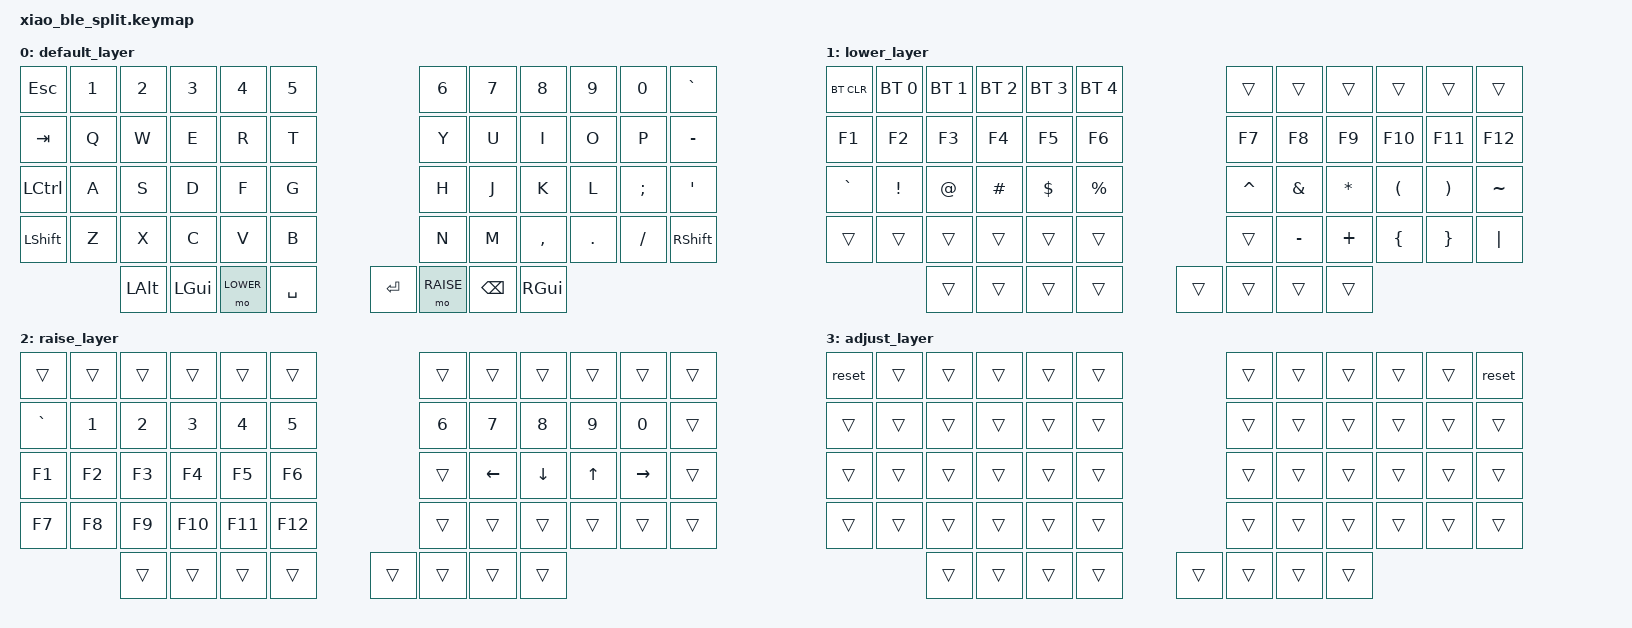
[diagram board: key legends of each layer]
/*
 * Copyright (c) 2022 The ZMK Contributors
 *
 * SPDX-License-Identifier: MIT
 */

#include <behaviors.dtsi>
#include <dt-bindings/zmk/keys.h>
#include <dt-bindings/zmk/bt.h>

// レイヤー定義
#define DEFAULT 0
#define LOWER   1
#define RAISE   2
#define ADJUST  3

/ {
    keymap {
        compatible = "zmk,keymap";

        default_layer {
            // ------------------------------------------------------------------------------------------------------------
            // |  ESC  |  1  |  2  |  3   |  4   |  5   |                   |  6   |  7    |  8    |  9   |   0   |   `   |
            // |  TAB  |  Q  |  W  |  E   |  R   |  T   |                   |  Y   |  U    |  I    |  O   |   P   |   -   |
            // |  CTRL |  A  |  S  |  D   |  F   |  G   |                   |  H   |  J    |  K    |  L   |   ;   |   '   |
            // | SHIFT |  Z  |  X  |  C   |  V   |  B   |                   |  N   |  M    |  ,    |  .   |   /   | SHIFT |
            //                     | ALT  | GUI  | LOWER|  SPACE |  | ENTER | RAISE| BSPC  | GUI   |

            bindings = <
                &kp ESC   &kp N1 &kp N2 &kp N3   &kp N4   &kp N5                     &kp N6 &kp N7   &kp N8    &kp N9  &kp N0   &kp GRAVE
                &kp TAB   &kp Q  &kp W  &kp E    &kp R    &kp T                      &kp Y  &kp U    &kp I     &kp O   &kp P    &kp MINUS
                &kp LCTRL &kp A  &kp S  &kp D    &kp F    &kp G                      &kp H  &kp J    &kp K     &kp L   &kp SEMI &kp SQT
                &kp LSHFT &kp Z  &kp X  &kp C    &kp V    &kp B                      &kp N  &kp M    &kp COMMA &kp DOT &kp FSLH &kp RSHFT
                                 &kp LALT &kp LGUI &mo LOWER &kp SPACE      &kp RET &mo RAISE &kp BSPC &kp RGUI
            >;
        };

        lower_layer {
            // ------------------------------------------------------------------------------------------------------------
            // | BTCLR | BT1 | BT2 |  BT3 |  BT4 |  BT5 |                   |      |       |       |      |       |       |
            // |  F1   |  F2 |  F3 |  F4  |  F5  |  F6  |                   |  F7  |  F8   |  F9   |  F10 |  F11  |  F12  |
            // |   `   |  !  |  @  |  #   |  $   |  %   |                   |  ^   |  &    |  *    |  (   |   )   |   ~   |
            // |       |     |     |      |      |      |                   |      |  _    |  +    |  {   |   }   |  "|"  |
            //                     |      |      |      |        |  |       |      |       |       |

            bindings = <
                &bt BT_CLR &bt BT_SEL 0 &bt BT_SEL 1 &bt BT_SEL 2 &bt BT_SEL 3 &bt BT_SEL 4             &trans    &trans    &trans    &trans    &trans    &trans
                &kp F1     &kp F2       &kp F3       &kp F4       &kp F5       &kp F6                   &kp F7    &kp F8    &kp F9    &kp F10   &kp F11   &kp F12
                &kp GRAVE  &kp EXCL     &kp AT       &kp HASH     &kp DOLLAR   &kp PRCNT               &kp CARET &kp AMPS  &kp ASTRK &kp LPAR  &kp RPAR  &kp TILDE
                &trans     &trans       &trans       &trans       &trans       &trans                   &trans    &kp MINUS &kp PLUS  &kp LBRC  &kp RBRC  &kp PIPE
                                        &trans       &trans       &trans       &trans      &trans       &trans    &trans    &trans
            >;
        };

        raise_layer {
            // ------------------------------------------------------------------------------------------------------------
            // |       |     |     |      |      |      |                   |      |       |       |      |       |       |
            // |   `   |  1  |  2  |  3   |  4   |  5   |                   |  6   |   7   |   8   |  9   |   0   |       |
            // |   F1  |  F2 |  F3 |  F4  |  F5  |  F6  |                   |      |   <-  |   v   |  ^   |  ->   |       |
            // |   F7  |  F8 |  F9 |  F10 |  F11 |  F12 |                   |      |       |       |      |       |       |
            //                     |      |      |      |        |  |       |      |       |       |

            bindings = <
                &trans    &trans &trans &trans  &trans  &trans                       &trans      &trans    &trans    &trans   &trans    &trans
                &kp GRAVE &kp N1 &kp N2 &kp N3  &kp N4  &kp N5                       &kp N6      &kp N7    &kp N8    &kp N9   &kp N0    &trans
                &kp F1    &kp F2 &kp F3 &kp F4  &kp F5  &kp F6                       &trans      &kp LEFT  &kp DOWN  &kp UP   &kp RIGHT &trans
                &kp F7    &kp F8 &kp F9 &kp F10 &kp F11 &kp F12                      &trans      &trans    &trans    &trans   &trans    &trans
                                 &trans &trans  &trans  &trans        &trans         &trans      &trans    &trans
            >;
        };

        adjust_layer {
            // ------------------------------------------------------------------------------------------------------------
            // |       |     |     |      |      |      |                   |      |       |       |      |       |       |
            // |       |     |     |      |      |      |                   |      |       |       |      |       |       |
            // |       |     |     |      |      |      |                   |      |       |       |      |       |       |
            // |       |     |     |      |      |      |                   |      |       |       |      |       |       |
            //                     |      |      |      |        |  |       |      |       |       |

            bindings = <
                &reset   &trans &trans &trans  &trans  &trans                       &trans      &trans    &trans    &trans   &trans    &reset
                &trans   &trans &trans &trans  &trans  &trans                       &trans      &trans    &trans    &trans   &trans    &trans
                &trans   &trans &trans &trans  &trans  &trans                       &trans      &trans    &trans    &trans   &trans    &trans
                &trans   &trans &trans &trans  &trans  &trans                       &trans      &trans    &trans    &trans   &trans    &trans
                                &trans &trans  &trans  &trans        &trans         &trans      &trans    &trans
            >;
        };
    };

    conditional_layers {
        compatible = "zmk,conditional-layers";
        tri_layer {
            if-layers = <LOWER RAISE>;
            then-layer = <ADJUST>;
        };
    };
};
